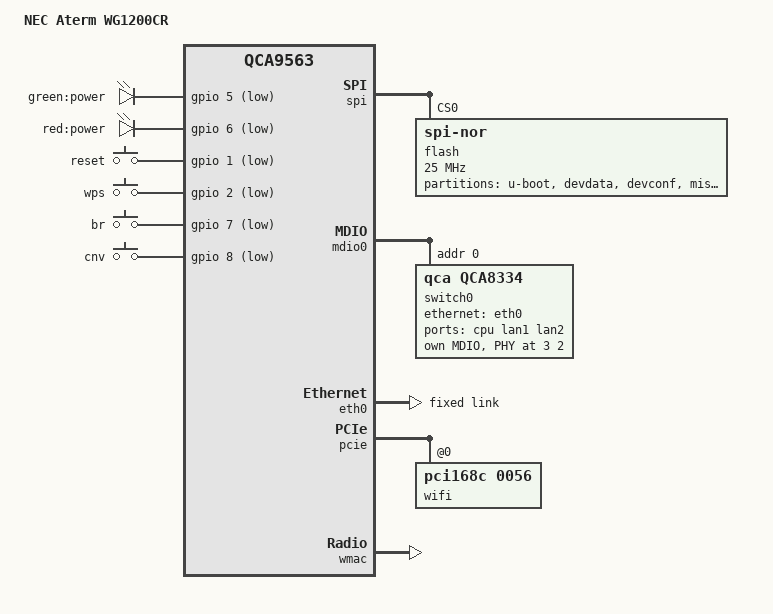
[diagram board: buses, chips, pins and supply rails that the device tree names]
// SPDX-License-Identifier: GPL-2.0-or-later OR MIT

#include "qca956x.dtsi"

#include <dt-bindings/gpio/gpio.h>
#include <dt-bindings/input/input.h>

/ {
	model = "NEC Aterm WG1200CR";
	compatible = "nec,wg1200cr", "qca,qca9563";

	aliases {
		led-boot = &led_power_green;
		led-failsafe = &led_power_red;
		led-running = &led_power_green;
		led-upgrade = &led_power_green;
	};

	leds {
		compatible = "gpio-leds";
		/* other LEDs are connected to ath10k (QCA9888) gpiochip */

		led_power_green: power_green {
			label = "green:power";
			gpios = <&gpio 5 GPIO_ACTIVE_LOW>;
			default-state = "on";
		};

		led_power_red: power_red {
			label = "red:power";
			gpios = <&gpio 6 GPIO_ACTIVE_LOW>;
		};
	};

	keys {
		compatible = "gpio-keys";

		reset {
			label = "reset";
			gpios = <&gpio 1 GPIO_ACTIVE_LOW>;
			linux,code = <KEY_RESTART>;
			debounce-interval = <60>;
		};

		wps {
			label = "wps";
			gpios = <&gpio 2 GPIO_ACTIVE_LOW>;
			linux,code = <KEY_WPS_BUTTON>;
			debounce-interval = <60>;
		};

		bridge {
			label = "br";
			gpios = <&gpio 7 GPIO_ACTIVE_LOW>;
			linux,code = <BTN_0>;
			linux,input-type = <EV_SW>;
			debounce-interval = <60>;
		};

		converter {
			label = "cnv";
			gpios = <&gpio 8 GPIO_ACTIVE_LOW>;
			linux,code = <BTN_0>;
			linux,input-type = <EV_SW>;
			debounce-interval = <60>;
		};
	};
};

&spi {
	status = "okay";

	flash@0 {
		compatible = "jedec,spi-nor";
		reg = <0>;
		spi-max-frequency = <25000000>;

		partitions {
			compatible = "fixed-partitions";
			#address-cells = <1>;
			#size-cells = <1>;

			partition@0 {
				label = "u-boot";
				reg = <0x000000 0x040000>;
				read-only;
			};

			partition@40000 {
				label = "devdata";
				reg = <0x040000 0x010000>;
				read-only;
			};

			partition@50000 {
				label = "devconf";
				reg = <0x050000 0x010000>;
				read-only;
			};

			partition@60000 {
				label = "misc";
				reg = <0x060000 0x010000>;
				read-only;
			};

			partition@70000 {
				label = "wifimngdata";
				reg = <0x070000 0x010000>;
				read-only;
			};

			partition@80000 {
				compatible = "seama";
				label = "firmware";
				reg = <0x080000 0x770000>;
			};

			partition@7f0000 {
				label = "art";
				reg = <0x7f0000 0x010000>;
				read-only;
			};
		};
	};
};

&mdio0 {
	status = "okay";

	switch0@10 {
		compatible = "qca,qca8334";
		#address-cells = <1>;
		#size-cells = <0>;

		reg = <0>;

		ports {
			#address-cells = <1>;
			#size-cells = <0>;

			port@0 {
				reg = <0>;
				label = "cpu";
				ethernet = <&eth0>;
				phy-mode = "sgmii";

				fixed-link {
					speed = <1000>;
					full-duplex;
				};
			};

			port@2 {
				reg = <2>;
				label = "lan1";
				phy-mode = "internal";
				phy-handle = <&phy_port2>;
			};

			port@3 {
				reg = <3>;
				label = "lan2";
				phy-mode = "internal";
				phy-handle = <&phy_port3>;
			};
		};

		mdio {
			#address-cells = <1>;
			#size-cells = <0>;

			phy_port2: phy@3 {
				reg = <3>;
			};

			phy_port3: phy@2 {
				reg = <2>;
			};
		};
	};
};

&eth0 {
	status = "okay";

	pll-data = <0x03000101 0x00000101 0x00001919>;

	fixed-link {
		speed = <1000>;
		full-duplex;
	};
};

&pcie {
	status = "okay";

	wifi@0,0 {
		compatible = "pci168c,0056";
		reg = <0x0000 0 0 0 0>;
	};
};

&wmac {
	status = "okay";

	qca,no-eeprom;
};
